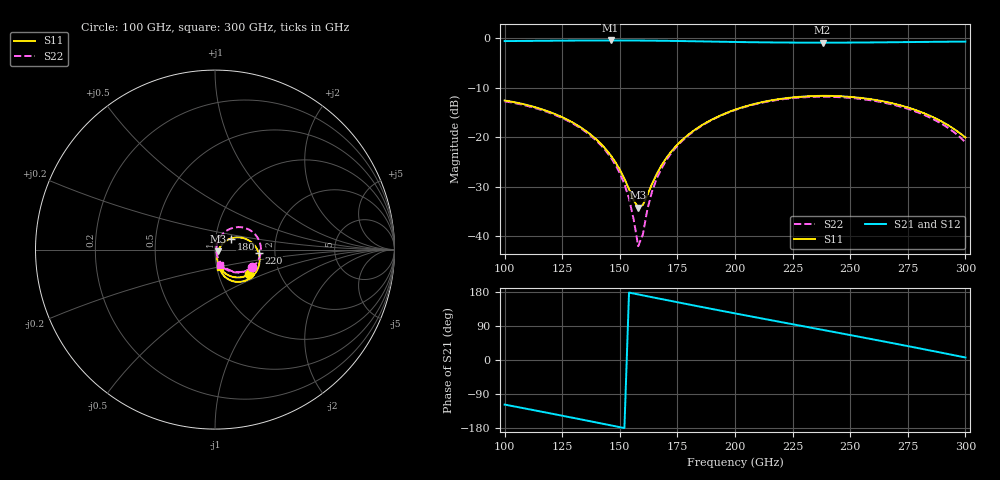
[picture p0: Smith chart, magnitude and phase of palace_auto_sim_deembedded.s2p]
! Created with skrf 1.11.0 (http://scikit-rf.org).
# GHz S DB R 50.0
!freq dBS11 angS11 dBS21 angS21 dBS12 angS12 dBS22 angS22
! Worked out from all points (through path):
!   101 points, 100 GHz to 300 GHz, reference 50 ohm
!   highest |S21| = -0.50 dB at 146 GHz (marker M1); lowest = -0.9 dB at 238 GHz (marker M2)
!   group delay of S21, straight-line fit = 3.26 ps
!   lowest |S11| = -34.2 dB at 158 GHz (marker M3), VSWR 1.04, Z = 51.8 - j0.905 ohm
!   |S11| at or under -10 dB: start of sweep to end of sweep
!   |S22| runs from -42.0 to -11.8 dB; largest |S21 - S12| = 1.1e-14
!   S11 on the Smith chart (normalised r, x): 100 GHz: 1.40, -0.41; 180 GHz: 1.18, +0.15; 220 GHz: 1.64, -0.07; 300 GHz: 1.03, -0.20
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100  -12.59 -36.2  -0.62 -117.6  -0.62 -117.6  -12.76 -25.3
118  -14.65 -55.7  -0.56 -138.7  -0.56 -138.7  -14.82 -43.7
134  -18.31 -71.4  -0.51 -157.8  -0.51 -157.8  -18.52 -59.7
146  -23.61 -77.8  -0.50 -172.3  -0.50 -172.3  -24.02 -69.6
150  -26.51 -75.4  -0.50 -177.2  -0.50 -177.2  -27.23 -70.9
154  -30.46 -64.1  -0.50 177.9  -0.50 177.9  -32.36 -67.1
156  -32.70 -50.0  -0.51 175.5  -0.51 175.5  -36.55 -57.2
158  -34.19 -26.6  -0.51 173.1  -0.51 173.1  -41.96 -20.0
160  -33.64 0.0  -0.52 170.6  -0.52 170.6  -39.62 42.5
162  -31.62 18.8  -0.53 168.2  -0.53 168.2  -34.47 62.7
164  -29.40 29.1  -0.54 165.8  -0.54 165.8  -30.93 68.6
168  -25.74 37.3  -0.56 160.9  -0.56 160.9  -26.38 70.5
174  -21.98 38.3  -0.60 153.7  -0.60 153.7  -22.25 67.3
180  -19.39 35.1  -0.64 146.5  -0.64 146.5  -19.54 62.2
200  -14.46 16.9  -0.80 123.0  -0.80 123.0  -14.52 41.8
220  -12.26 -4.5  -0.91 100.1  -0.91 100.1  -12.38 20.0
234  -11.70 -19.6  -0.94 84.1  -0.94 84.1  -11.87 4.7
238  -11.67 -23.9  -0.94 79.5  -0.94 79.5  -11.84 0.4
252  -11.95 -38.7  -0.92 63.5  -0.92 63.5  -12.15 -14.9
268  -13.13 -54.7  -0.86 44.9  -0.86 44.9  -13.37 -32.7
286  -15.96 -70.2  -0.77 23.6  -0.77 23.6  -16.35 -53.6
300  -20.04 -75.2  -0.73 6.6  -0.73 6.6  -21.03 -71.2
